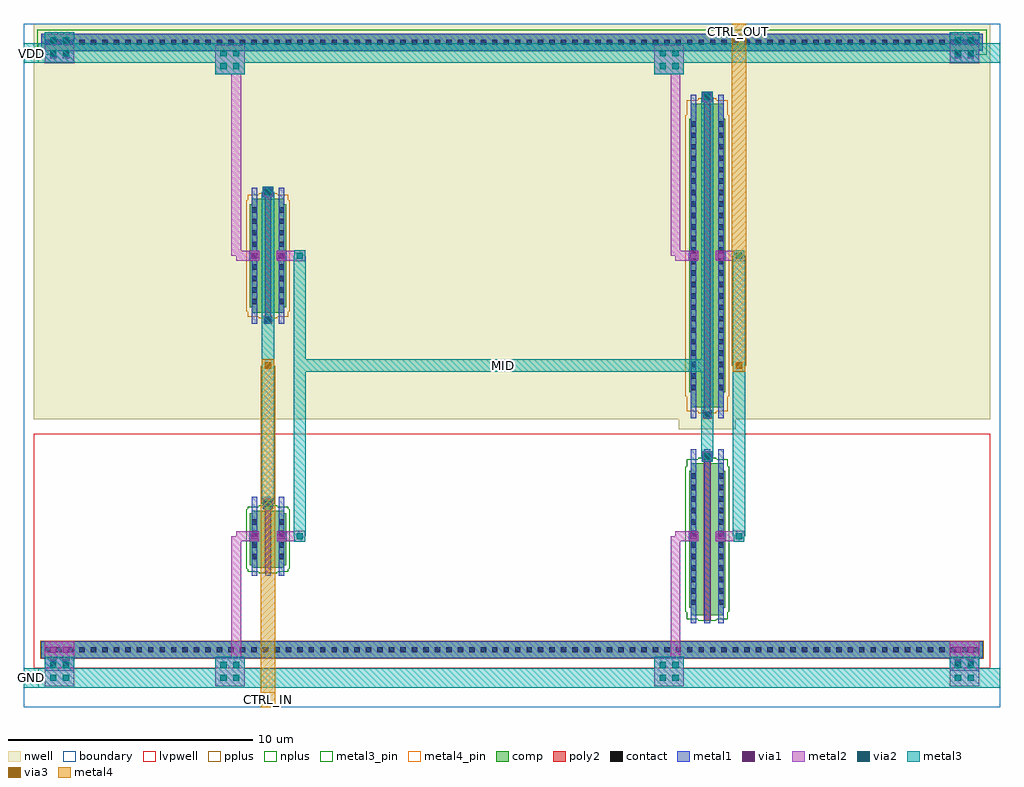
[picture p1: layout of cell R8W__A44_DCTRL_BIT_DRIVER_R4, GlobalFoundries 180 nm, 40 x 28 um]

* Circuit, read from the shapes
.subckt R8W__A44_DCTRL_BIT_DRIVER_R4 CTRL_IN CTRL_OUT GND MID VDD
XM1 MID CTRL_IN GND GND nfet_03v3 w=2.34u l=0.28u
XM2 CTRL_OUT MID GND GND nfet_03v3 w=6.22u l=0.28u
XM3 MID CTRL_IN VDD VDD pfet_03v3 w=4.67u l=0.28u
XM4 CTRL_OUT MID VDD VDD pfet_03v3 w=12.44u l=0.28u
.ends

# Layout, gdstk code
import gdstk
lib = gdstk.Library(unit=1e-6, precision=1e-09)
def R(c, l, rs):  # rectangles x0, y0, x1, y1
    for r in rs: c.add(gdstk.rectangle(r[:2], r[2:], *l))
def A(c, l, x, y, w, h, nx, ny, dx, dy):  # array of equal rectangles
    R(c, l, [(x+i*dx, y+j*dy, x+i*dx+w, y+j*dy+h) for i in range(nx) for j in range(ny)])
boundary = (0, 0)
nwell = (21, 0)
comp = (22, 0)
poly2 = (30, 0)
pplus = (31, 0)
nplus = (32, 0)
contact = (33, 0)
metal1 = (34, 0)
via1 = (35, 0)
metal2 = (36, 0)
via2 = (38, 0)
via3 = (40, 0)
metal3 = (42, 0)
metal3_pin = (42, 10)
metal4 = (46, 0)
metal4_pin = (46, 10)
lvpwell = (204, 0)

r8w__pfet_03v3_8rs7kv = lib.new_cell('R8W__pfet_03v3_8RS7KV')
R(r8w__pfet_03v3_8rs7kv, nwell, [(-1.17,-7.11,1.17,7.11)])
R(r8w__pfet_03v3_8rs7kv, comp, [(-0.675,-6.22,0.675,-5.605), (-0.74,-5.605,0.74,5.605), (-0.675,5.605,0.675,6.22)])
R(r8w__pfet_03v3_8rs7kv, poly2, [(-0.18,-6.68,0.18,-6.32), (-0.14,-6.32,0.14,6.32), (-0.18,6.32,0.18,6.68)])
R(r8w__pfet_03v3_8rs7kv, pplus, [(-0.37,-6.45,0.37,-6.38), (-0.835,-6.38,0.835,-5.765), (-0.9,-5.765,0.9,5.765), (-0.835,5.765,0.835,6.38), (-0.37,6.38,0.37,6.45)])
A(r8w__pfet_03v3_8rs7kv, contact, -0.67, -5.515, 0.22, 0.22, 1, 24, 0, 0.47)
A(r8w__pfet_03v3_8rs7kv, contact, 0.45, -5.515, 0.22, 0.22, 1, 24, 0, 0.47)
R(r8w__pfet_03v3_8rs7kv, contact, [(-0.11,-6.61,0.11,-6.39), (-0.11,6.39,0.11,6.61)])
R(r8w__pfet_03v3_8rs7kv, metal1, [(-0.17,-6.615,0.17,-6.385), (-0.675,-5.595,-0.445,5.595), (0.445,-5.595,0.675,5.595), (-0.17,6.385,0.17,6.615)])

r8w__nfet_03v3_6lx9qf = lib.new_cell('R8W__nfet_03v3_6LX9QF')
R(r8w__nfet_03v3_6lx9qf, comp, [(-0.675,-3.23,0.675,-2.925), (-0.74,-2.925,0.74,2.685), (-0.675,2.685,0.675,2.99)])
R(r8w__nfet_03v3_6lx9qf, poly2, [(-0.14,-3.45,0.14,3.09), (-0.18,3.09,0.18,3.45)])
R(r8w__nfet_03v3_6lx9qf, nplus, [(-0.37,-3.46,0.37,-3.39), (-0.835,-3.39,0.835,-3.085), (-0.9,-3.085,0.9,2.845), (-0.835,2.845,0.835,3.15), (-0.37,3.15,0.37,3.22)])
A(r8w__nfet_03v3_6lx9qf, contact, -0.67, -2.815, 0.22, 0.22, 1, 12, 0, 0.47)
A(r8w__nfet_03v3_6lx9qf, contact, 0.45, -2.815, 0.22, 0.22, 1, 12, 0, 0.47)
R(r8w__nfet_03v3_6lx9qf, contact, [(-0.11,3.16,0.11,3.38)])
R(r8w__nfet_03v3_6lx9qf, metal1, [(-0.675,-2.915,-0.445,2.675), (0.445,-2.915,0.675,2.675), (-0.17,3.155,0.17,3.385)])
R(r8w__nfet_03v3_6lx9qf, lvpwell, [(-0.86,-3.57,0.86,3.57)])

r8w__pfet_03v3_gxth48 = lib.new_cell('R8W__pfet_03v3_GXTH48')
R(r8w__pfet_03v3_gxth48, nwell, [(-1.17,-3.225,1.17,3.225)])
R(r8w__pfet_03v3_gxth48, comp, [(-0.675,-2.335,0.675,-2.11), (-0.74,-2.11,0.74,2.11), (-0.675,2.11,0.675,2.335)])
R(r8w__pfet_03v3_gxth48, poly2, [(-0.18,-2.795,0.18,-2.435), (-0.14,-2.435,0.14,2.435), (-0.18,2.435,0.18,2.795)])
R(r8w__pfet_03v3_gxth48, pplus, [(-0.37,-2.565,0.37,-2.495), (-0.835,-2.495,0.835,-2.27), (-0.9,-2.27,0.9,2.27), (-0.835,2.27,0.835,2.495), (-0.37,2.495,0.37,2.565)])
A(r8w__pfet_03v3_gxth48, contact, -0.67, -1.99, 0.22, 0.22, 1, 9, 0, 0.47)
A(r8w__pfet_03v3_gxth48, contact, 0.45, -1.99, 0.22, 0.22, 1, 9, 0, 0.47)
R(r8w__pfet_03v3_gxth48, contact, [(-0.11,-2.725,0.11,-2.505), (-0.11,2.505,0.11,2.725)])
R(r8w__pfet_03v3_gxth48, metal1, [(-0.17,-2.73,0.17,-2.5), (-0.675,-2.1,-0.445,2.1), (0.445,-2.1,0.675,2.1), (-0.17,2.5,0.17,2.73)])

r8w__nfet_03v3_whe5hu = lib.new_cell('R8W__nfet_03v3_WHE5HU')
R(r8w__nfet_03v3_whe5hu, comp, [(-0.675,-1.29,0.675,-1.18), (-0.74,-1.18,0.74,0.94), (-0.675,0.94,0.675,1.05)])
R(r8w__nfet_03v3_whe5hu, poly2, [(-0.14,-1.51,0.14,1.15), (-0.18,1.15,0.18,1.51)])
R(r8w__nfet_03v3_whe5hu, nplus, [(-0.37,-1.52,0.37,-1.45), (-0.835,-1.45,0.835,-1.34), (-0.9,-1.34,0.9,1.1), (-0.835,1.1,0.835,1.21), (-0.37,1.21,0.37,1.28)])
A(r8w__nfet_03v3_whe5hu, contact, -0.67, -0.935, 0.22, 0.22, 1, 4, 0, 0.47)
A(r8w__nfet_03v3_whe5hu, contact, 0.45, -0.935, 0.22, 0.22, 1, 4, 0, 0.47)
R(r8w__nfet_03v3_whe5hu, contact, [(-0.11,1.22,0.11,1.44)])
R(r8w__nfet_03v3_whe5hu, metal1, [(-0.675,-1.17,-0.445,0.93), (0.445,-1.17,0.675,0.93), (-0.17,1.215,0.17,1.445)])
R(r8w__nfet_03v3_whe5hu, lvpwell, [(-0.86,-1.63,0.86,1.63)])

r8w__a44_dctrl_bit_drive = lib.new_cell('R8W__A44_DCTRL_BIT_DRIVER_R4')
R(r8w__a44_dctrl_bit_drive, boundary, [(0,0,40,28)])
R(r8w__a44_dctrl_bit_drive, nwell, [(0.4,11.8,39.6,28)])
R(r8w__a44_dctrl_bit_drive, comp, [(0.7,2,39.3,2.7), (0.7,26.9,39.3,27.6)])
R(r8w__a44_dctrl_bit_drive, pplus, [(0.675,1.975,39.325,2.725)])
R(r8w__a44_dctrl_bit_drive, nplus, [(0.54,26.74,0.99,26.875), (39.01,26.74,39.46,26.875), (0.54,26.875,39.46,27.76)])
A(r8w__a44_dctrl_bit_drive, contact, 0.855, 2.24, 0.22, 0.22, 82, 2, 0.47, 24.9)
R(r8w__a44_dctrl_bit_drive, metal1, [(0.86,1.49,2.06,2), (37.94,1.49,39.14,2), (0.7,2,39.3,2.7), (27.325,3.44,27.555,6.8), (27.885,3.44,28.115,10.07), (28.445,3.44,28.675,6.8), (9.325,5.38,9.555,6.8), (9.885,5.38,10.115,8.13), (10.445,5.38,10.675,6.8), (9.24,6.8,9.64,7.2), (10.36,6.8,10.76,7.2), (27.24,6.8,27.64,7.2), (28.36,6.8,28.76,7.2), (9.325,7.2,9.555,8.62), (10.445,7.2,10.675,8.62), (27.325,7.2,27.555,10.56), (28.445,7.2,28.675,10.56), (9.8,8.13,10.2,8.53), (9.885,8.53,10.115,8.62), (27.8,10.07,28.2,10.47), (27.885,10.47,28.115,10.56), (27.325,11.83,27.555,18.3), (27.885,11.83,28.115,24.8), (28.445,11.83,28.675,18.3), (9.325,15.715,9.555,18.3), (9.885,15.715,10.115,20.915), (10.445,15.715,10.675,18.3), (9.24,18.3,9.64,18.7), (10.36,18.3,10.76,18.7), (27.24,18.3,27.64,18.7), (28.36,18.3,28.76,18.7), (9.325,18.7,9.555,21.285), (10.445,18.7,10.675,21.285), (27.325,18.7,27.555,25.1), (28.445,18.7,28.675,25.1), (9.8,20.915,10.2,21.315), (27.8,24.8,28.2,25.2), (0.86,26.39,2.06,26.9), (37.94,26.39,39.14,26.9), (0.7,26.9,39.3,27.6)])
R(r8w__a44_dctrl_bit_drive, via1, [(1.07,1.7,1.33,1.96), (1.59,1.7,1.85,1.96), (38.15,1.7,38.41,1.96), (38.67,1.7,38.93,1.96), (1.07,2.22,1.33,2.48), (1.59,2.22,1.85,2.48), (38.15,2.22,38.41,2.48), (38.67,2.22,38.93,2.48), (9.31,6.87,9.57,7.13), (10.43,6.87,10.69,7.13), (27.31,6.87,27.57,7.13), (28.43,6.87,28.69,7.13), (9.87,8.2,10.13,8.46), (27.87,10.14,28.13,10.4), (9.31,18.37,9.57,18.63), (10.43,18.37,10.69,18.63), (27.31,18.37,27.57,18.63), (28.43,18.37,28.69,18.63), (9.87,20.985,10.13,21.245), (27.87,24.87,28.13,25.13), (1.07,26.6,1.33,26.86), (1.59,26.6,1.85,26.86), (38.15,26.6,38.41,26.86), (38.67,26.6,38.93,26.86), (1.07,27.12,1.33,27.38), (1.59,27.12,1.85,27.38), (38.15,27.12,38.41,27.38), (38.67,27.12,38.93,27.38)])
R(r8w__a44_dctrl_bit_drive, metal2, [(0.86,0.86,2.06,0.98), (7.84,0.86,9.04,0.98), (25.84,0.86,27.04,0.98), (37.94,0.86,39.14,0.98), (0.86,0.98,0.98,1.42), (0.98,0.98,1.42,1.42), (1.42,0.98,2.06,1.42), (7.84,0.98,8.48,1.42), (8.48,0.98,8.92,1.42), (8.92,0.98,9.04,1.42), (25.84,0.98,26.48,1.42), (26.48,0.98,26.92,1.42), (26.92,0.98,27.04,1.42), (37.94,0.98,38.58,1.42), (38.58,0.98,39.02,1.42), (39.02,0.98,39.14,1.42), (0.86,1.42,1,2.55), (1,1.42,1.4,2.55), (1.4,1.42,2.06,2.55), (7.84,1.42,8.5,2.06), (8.5,1.42,8.9,6.8), (8.9,1.42,9.04,2.06), (25.84,1.42,26.5,2.06), (26.5,1.42,26.9,6.8), (26.9,1.42,27.04,2.06), (37.94,1.42,38.6,2.55), (38.6,1.42,39,2.55), (39,1.42,39.14,2.55), (0.86,2.55,2.06,2.69), (37.94,2.55,39.14,2.69), (11.08,6.78,11.52,6.8), (29.08,6.78,29.52,6.8), (8.5,6.8,9.64,7), (10.36,6.8,11.52,7.2), (26.5,6.8,27.64,7), (28.36,6.8,29.52,7.2), (8.7,7,9.64,7.2), (26.7,7,27.64,7.2), (11.08,7.2,11.52,7.22), (29.08,7.2,29.52,7.22), (9.78,8.11,10.22,8.55), (27.78,10.05,28.22,10.49), (11.08,18.28,11.52,18.3), (29.08,18.28,29.52,18.3), (8.7,18.3,9.64,18.5), (10.36,18.3,11.52,18.7), (26.7,18.3,27.64,18.5), (28.36,18.3,29.52,18.7), (8.5,18.5,9.64,18.7), (26.5,18.5,27.64,18.7), (8.5,18.7,8.9,26.58), (11.08,18.7,11.52,18.72), (26.5,18.7,26.9,26.58), (29.08,18.7,29.52,18.72), (9.78,20.895,10.22,21.335), (27.78,24.78,28.22,25.22), (7.84,25.94,8.5,26.58), (8.9,25.94,9.04,26.58), (25.84,25.94,26.5,26.58), (26.9,25.94,27.04,26.58), (0.86,26.39,2.06,26.58), (37.94,26.39,39.14,26.58), (0.86,26.58,0.98,27.02), (0.98,26.58,1.42,27.02), (1.42,26.58,2.06,27.02), (7.84,26.58,8.48,27.02), (8.48,26.58,8.92,27.02), (8.92,26.58,9.04,27.02), (25.84,26.58,26.48,27.02), (26.48,26.58,26.92,27.02), (26.92,26.58,27.04,27.02), (37.94,26.58,38.58,27.02), (38.58,26.58,39.02,27.02), (39.02,26.58,39.14,27.02), (0.86,27.02,1,27.45), (1,27.02,1.4,27.45), (1.4,27.02,2.06,27.45), (7.84,27.02,9.04,27.14), (25.84,27.02,27.04,27.14), (37.94,27.02,38.6,27.45), (38.6,27.02,39,27.45), (39,27.02,39.14,27.45), (0.86,27.45,2.06,27.66), (37.94,27.45,39.14,27.66)])
R(r8w__a44_dctrl_bit_drive, via2, [(1.07,1.07,1.33,1.33), (1.59,1.07,1.85,1.33), (8.05,1.07,8.31,1.33), (8.57,1.07,8.83,1.33), (26.05,1.07,26.31,1.33), (26.57,1.07,26.83,1.33), (38.15,1.07,38.41,1.33), (38.67,1.07,38.93,1.33), (1.07,1.59,1.33,1.85), (1.59,1.59,1.85,1.85), (8.05,1.59,8.31,1.85), (8.57,1.59,8.83,1.85), (26.05,1.59,26.31,1.85), (26.57,1.59,26.83,1.85), (38.15,1.59,38.41,1.85), (38.67,1.59,38.93,1.85), (11.17,6.87,11.43,7.13), (29.17,6.87,29.43,7.13), (9.87,8.2,10.13,8.46), (27.87,10.14,28.13,10.4), (11.17,18.37,11.43,18.63), (29.17,18.37,29.43,18.63), (9.87,20.985,10.13,21.245), (27.87,24.87,28.13,25.13), (8.05,26.15,8.31,26.41), (8.57,26.15,8.83,26.41), (26.05,26.15,26.31,26.41), (26.57,26.15,26.83,26.41), (1.07,26.67,1.33,26.93), (1.59,26.67,1.85,26.93), (8.05,26.67,8.31,26.93), (8.57,26.67,8.83,26.93), (26.05,26.67,26.31,26.93), (26.57,26.67,26.83,26.93), (38.15,26.67,38.41,26.93), (38.67,26.67,38.93,26.93), (1.07,27.19,1.33,27.45), (1.59,27.19,1.85,27.45), (38.15,27.19,38.41,27.45), (38.67,27.19,38.93,27.45)])
R(r8w__a44_dctrl_bit_drive, via3, [(9.87,13.87,10.13,14.13), (29.17,13.87,29.43,14.13)])
R(r8w__a44_dctrl_bit_drive, metal3, [(0,0.8,40,1.6), (0.86,1.6,2.06,2.06), (7.84,1.6,9.04,2.06), (25.84,1.6,27.04,2.06), (37.94,1.6,39.14,2.06), (11.08,6.78,11.52,7), (29.08,6.78,29.52,7), (11.05,7,11.55,13.75), (29.05,7,29.55,18.5), (9.78,8.11,10.22,8.33), (9.75,8.33,10.25,21.115), (27.78,10.05,28.22,10.27), (27.75,10.27,28.25,13.75), (11.05,13.75,28.25,14.25), (11.05,14.25,11.55,18.5), (27.75,14.25,28.25,25), (11.08,18.5,11.52,18.72), (29.08,18.5,29.52,18.72), (9.78,21.115,10.22,21.335), (27.78,25,28.22,25.22), (7.84,25.94,9.04,26.4), (25.84,25.94,27.04,26.4), (0,26.4,40,27.2), (0.86,27.2,2.06,27.66), (37.94,27.2,39.14,27.66)])
R(r8w__a44_dctrl_bit_drive, metal3_pin, [(0,0.8,0.6,1.6), (0,26.4,0.6,27.2)])
R(r8w__a44_dctrl_bit_drive, metal4, [(9.7,0,10.3,14), (29.05,13.75,29.55,14), (9.75,14,10.25,14.25), (29,14,29.6,28)])
R(r8w__a44_dctrl_bit_drive, metal4_pin, [(9.7,0,10.3,0.6), (29,27.4,29.6,28)])
R(r8w__a44_dctrl_bit_drive, lvpwell, [(0.4,1.6,39.6,11.2)])
r8w__a44_dctrl_bit_drive.add(gdstk.Reference(r8w__pfet_03v3_8rs7kv, (28,18.5)))
r8w__a44_dctrl_bit_drive.add(gdstk.Reference(r8w__nfet_03v3_6lx9qf, (28,7)))
r8w__a44_dctrl_bit_drive.add(gdstk.Reference(r8w__pfet_03v3_gxth48, (10,18.5)))
r8w__a44_dctrl_bit_drive.add(gdstk.Reference(r8w__nfet_03v3_whe5hu, (10,7)))
r8w__a44_dctrl_bit_drive.add(gdstk.Label('MID', (19.65,14), layer=42, texttype=0))
r8w__a44_dctrl_bit_drive.add(gdstk.Label('VDD', (0.3,26.8), layer=42, texttype=10))
r8w__a44_dctrl_bit_drive.add(gdstk.Label('GND', (0.3,1.2), layer=42, texttype=10))
r8w__a44_dctrl_bit_drive.add(gdstk.Label('CTRL_IN', (10,0.3), layer=46, texttype=10))
r8w__a44_dctrl_bit_drive.add(gdstk.Label('CTRL_OUT', (29.3,27.7), layer=46, texttype=10))

lib.write_gds('R8W__A44_DCTRL_BIT_DRIVER_R4.gds')
